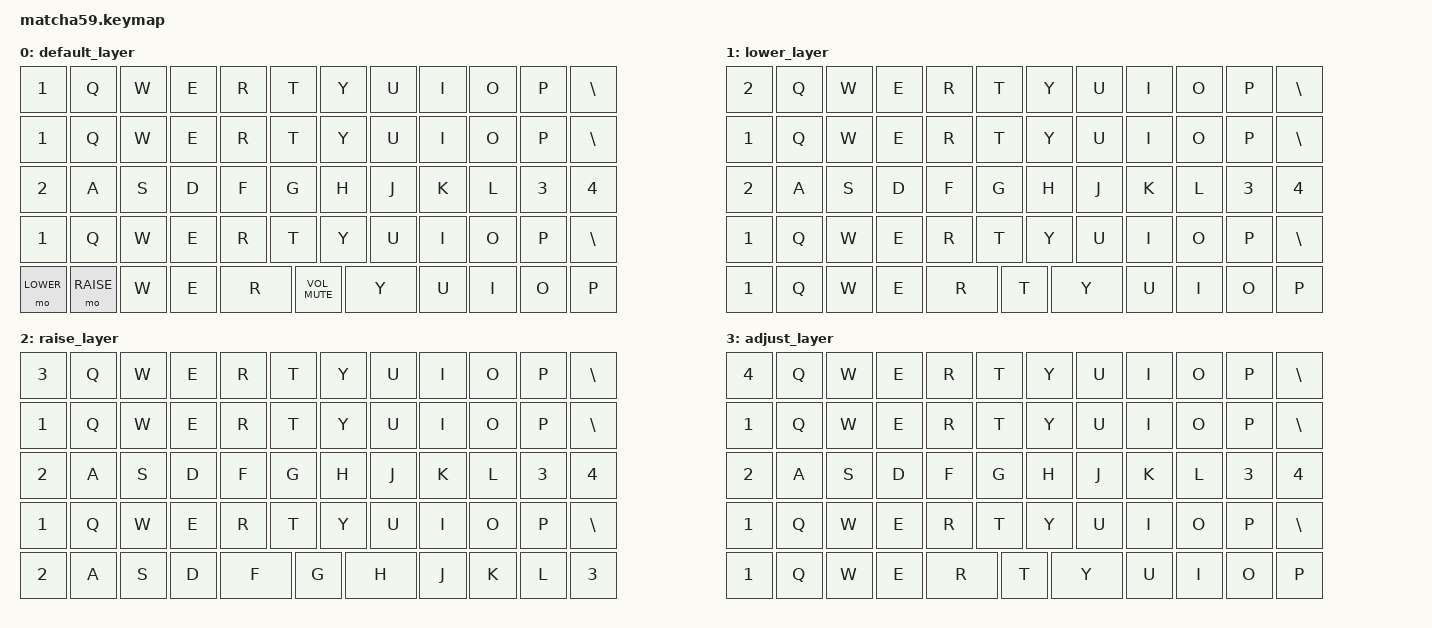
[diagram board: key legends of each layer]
#include <behaviors.dtsi>
#include <dt-bindings/zmk/bt.h>
#include <dt-bindings/zmk/keys.h>

#define DEFAULT 0
#define LOWER 1
#define RAISE 2
#define BOTH 3

/ {    
  conditional_layers {
        compatible = "zmk,conditional-layers";
        tri_layer {
            if-layers = <1 2>;
            then-layer = <3>;
        };
    };
};
/ {    

    behaviors {
        encoder_test: encoder_test {
            compatible = "zmk,behavior-sensor-rotate";
            #sensor-binding-cells = <0>;
            bindings = <&kp C_VOLUME_UP>, <&kp C_VOLUME_DOWN>;
        };
    };

  keymap {
        compatible = "zmk,keymap";

        default_layer {
            bindings = <
    &kp 1   &kp Q &kp W &kp E &kp R &kp T &kp Y &kp U  &kp I &kp O   &kp P    &kp BSLH
    &kp 1   &kp Q &kp W &kp E &kp R &kp T &kp Y &kp U  &kp I &kp O   &kp P    &kp BSLH
    &kp 2   &kp A &kp S &kp D &kp F &kp G &kp H &kp J  &kp K &kp L   &kp 3 &kp 4
    &kp 1   &kp Q &kp W &kp E &kp R &kp T &kp Y &kp U  &kp I &kp O   &kp P    &kp BSLH
    &mo LOWER  &mo RAISE &kp W &kp E &kp R &kp C_VOLUME_MUTE &kp Y &kp U  &kp I &kp O   &kp P   
            >;
        };
                lower_layer {
            bindings = <
    &kp 2   &kp Q &kp W &kp E &kp R &kp T &kp Y &kp U  &kp I &kp O   &kp P    &kp BSLH
    &kp 1   &kp Q &kp W &kp E &kp R &kp T &kp Y &kp U  &kp I &kp O   &kp P    &kp BSLH
    &kp 2   &kp A &kp S &kp D &kp F &kp G &kp H &kp J  &kp K &kp L   &kp 3 &kp 4
    &kp 1   &kp Q &kp W &kp E &kp R &kp T &kp Y &kp U  &kp I &kp O   &kp P    &kp BSLH
    &kp 1   &kp Q &kp W &kp E &kp R &kp T &kp Y &kp U  &kp I &kp O   &kp P    
            >;
        };
                 raise_layer {
             bindings = <
    &kp 3   &kp Q &kp W &kp E &kp R &kp T &kp Y &kp U  &kp I &kp O   &kp P    &kp BSLH
    &kp 1   &kp Q &kp W &kp E &kp R &kp T &kp Y &kp U  &kp I &kp O   &kp P    &kp BSLH
    &kp 2   &kp A &kp S &kp D &kp F &kp G &kp H &kp J  &kp K &kp L   &kp 3 &kp 4
    &kp 1   &kp Q &kp W &kp E &kp R &kp T &kp Y &kp U  &kp I &kp O   &kp P    &kp BSLH
    &kp 2   &kp A &kp S &kp D &kp F &kp G &kp H &kp J  &kp K &kp L   &kp 3 
 
            >;
        };
               adjust_layer {
            bindings = <
    &kp 4   &kp Q &kp W &kp E &kp R &kp T &kp Y &kp U  &kp I &kp O   &kp P    &kp BSLH
    &kp 1   &kp Q &kp W &kp E &kp R &kp T &kp Y &kp U  &kp I &kp O   &kp P    &kp BSLH
    &kp 2   &kp A &kp S &kp D &kp F &kp G &kp H &kp J  &kp K &kp L   &kp 3 &kp 4
    &kp 1   &kp Q &kp W &kp E &kp R &kp T &kp Y &kp U  &kp I &kp O   &kp P    &kp BSLH
    &kp 1   &kp Q &kp W &kp E &kp R &kp T &kp Y &kp U  &kp I &kp O   &kp P    

            >;
        };
   };
};
